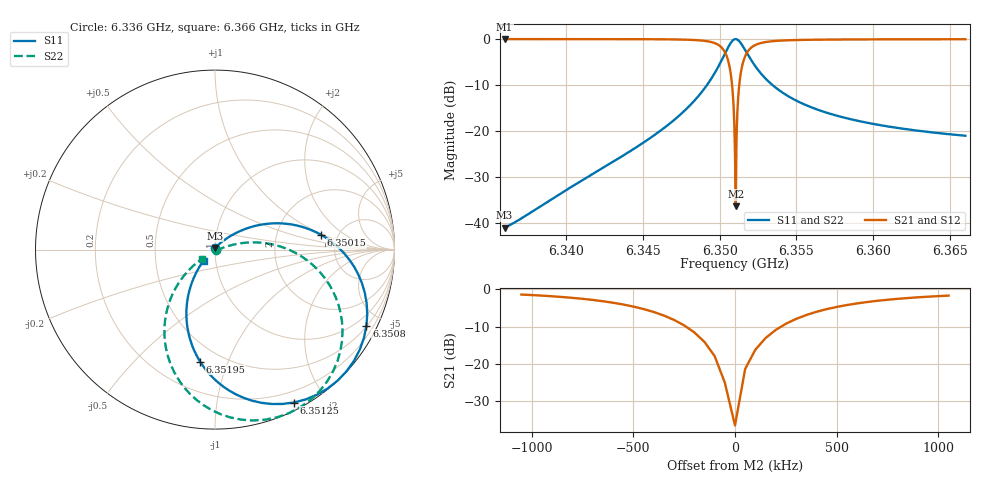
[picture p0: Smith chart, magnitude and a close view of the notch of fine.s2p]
! Touchstone file exported from HFSS 2021.2.0
!  File:  D:/Jay PhD/Code/Christian Andersen lab metal/andersen-lab-qiskit-metal-7ffcf333120ae557fdd8582a17358975285c58c2/SQL HFSS/Design7_Tunable_Transmon/simulation/aedt/D7.aedt
!  Generated:  8:52:35 %x4E0B%x5348  %x5341%x4E00%x6708 22, 2026
!  Design:  R_8c10
!  Project:  D7
!  Setup:  Setup1
!  Solution:  SweepFine
# GHz S MA R 50.000000
! Terminal data exported
! Port[1] = LumpPort_feedline_end
! Port[2] = LumpPort_feedline_start
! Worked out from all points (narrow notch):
!   601 points, 6.336 GHz to 6.366 GHz, reference 50 ohm
!   highest |S21| = 0.00 dB at 6.336 GHz (marker M1); lowest = -36.4 dB at 6.35105 GHz (marker M2)
!   notch at M2: 36.4 dB deep, 178 kHz wide at half that depth
!   lowest |S11| = -41.0 dB at 6.336 GHz (marker M3), VSWR 1.02, Z = 49.8 + j0.862 ohm
!   |S11| at or under -10 dB: start of sweep to 6.349175 GHz; 6.353441 GHz to end of sweep
!   |S22| runs from -41.0 to 0.0 dB; largest |S21 - S12| = 3.7e-14
!   S11 on the Smith chart (normalised r, x): 6.336 GHz: 1.00, +0.02; 6.35015 GHz: 3.71, +0.95; 6.3508 GHz: 0.53, -4.15; 6.35125 GHz: 0.08, -1.64; 6.35195 GHz: 0.39, -0.80; 6.366 GHz: 0.87, -0.11
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6.336  0.00888 102.8  1 124.4  1 124.4  0.00888 -33.9
! Gamma 0 0 0 0
! Port Impedance 50 0 50 0
6.341  0.02873 57.8  0.9996 123.1  0.9996 123.1  0.02873 8.3
6.346  0.09666 43.0  0.9953 119.1  0.9953 119.1  0.09666 15.2
6.3488  0.2611 30.5  0.9653 109.5  0.9653 109.5  0.2611 8.5
6.34955  0.3932 21.8  0.9195 101.4  0.9195 101.4  0.3932 1.0
6.35015  0.5971 7.9  0.8022 87.9  0.8022 87.9  0.5971 -12.1
6.35055  0.8112 -9.9  0.5848 70.4  0.5848 70.4  0.8112 -29.3
6.3508  0.9446 -26.7  0.3281 53.7  0.3281 53.7  0.9446 -45.8
6.3509  0.9804 -34.6  0.1971 45.9  0.1971 45.9  0.9804 -53.5
6.351  0.9984 -42.8  0.0564 37.8  0.0564 37.8  0.9984 -61.6
6.35105  0.9999 -46.9  0.01512 -146.3  0.01512 -146.3  0.9999 -65.7
6.35115  0.9879 -55.0  0.1552 -154.4  0.1552 -154.4  0.9879 -73.7
6.3512  0.9751 -58.9  0.2218 -158.2  0.2218 -158.2  0.9751 -77.5
6.35125  0.9585 -62.7  0.285 -162.0  0.285 -162.0  0.9585 -81.3
6.35135  0.9167 -69.8  0.3996 -169.0  0.3996 -169.0  0.9167 -88.2
6.3515  0.842 -79.0  0.5395 -178.1  0.5395 -178.1  0.842 -97.2
6.35195  0.6295 -97.6  0.777 163.6  0.777 163.6  0.6295 -115.3
6.3525  0.462 -109.4  0.8869 152.1  0.8869 152.1  0.462 -126.5
6.35325  0.3374 -117.6  0.9413 144.3  0.9413 144.3  0.3374 -133.9
6.356  0.1802 -128.1  0.9836 134.9  0.9836 134.9  0.1802 -142.1
6.361  0.1118 -133.6  0.9937 130.9  0.9937 130.9  0.1118 -144.6
6.366  0.08878 -136.0  0.9961 129.5  0.9961 129.5  0.08878 -145.0
